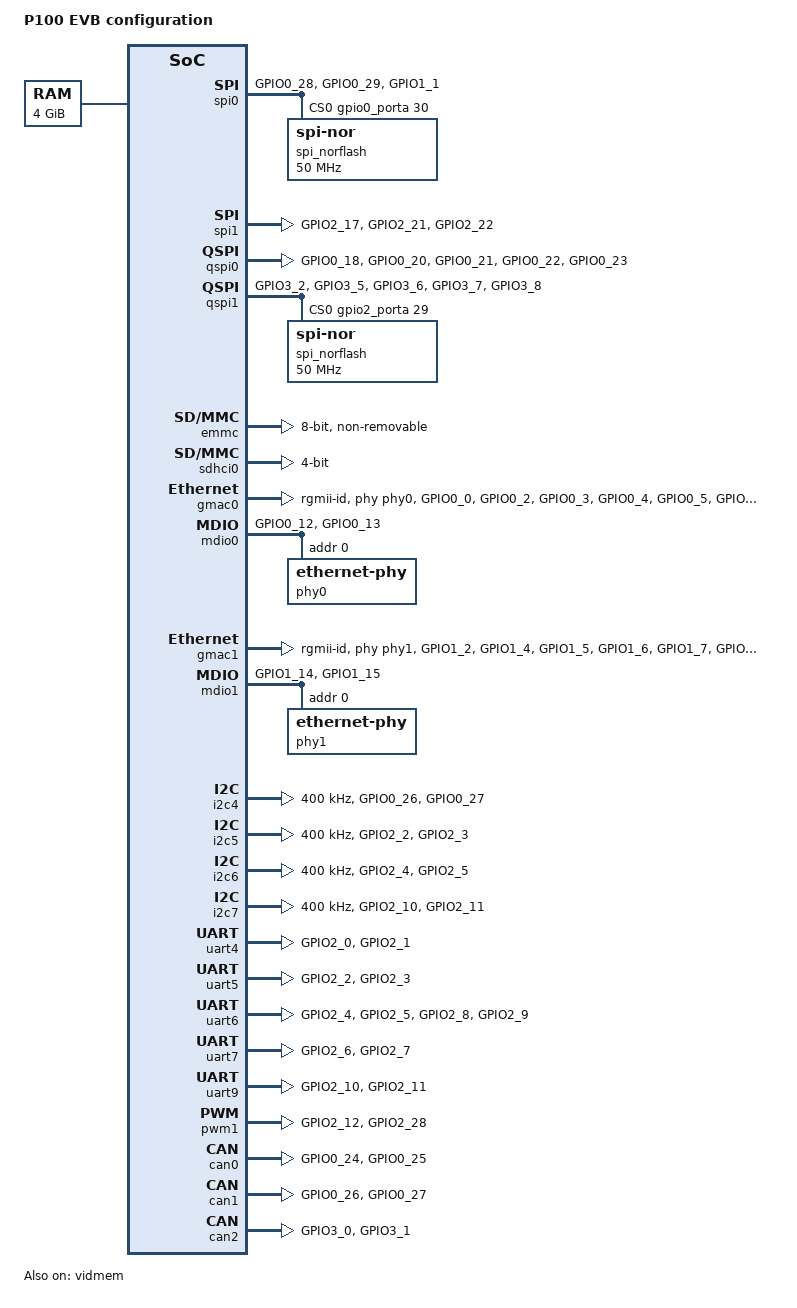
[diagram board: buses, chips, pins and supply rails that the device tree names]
/dts-v1/;

#include "p100-soc-core.dtsi"
#include "p100-soc-peri.dtsi"
#include "p100-platform-evb.dtsi"

#define SOUND_CARD_LINK(REG, FMT, CPU, M, CODEC, N) \
	simple-audio-card,dai-link@##REG { \
		reg = <REG>; \
		format = #FMT; \
		cpu { \
			sound-dai = <&audio_##CPU M>; \
		}; \
		codec { \
			sound-dai = <&codec_##CODEC N>; \
		}; \
	}

/ {
	model = "P100 EVB configuration";

	aliases {
		ethernet0 = &gmac0;
		ethernet1 = &gmac1;

		mmc0 = &emmc;
		mmc1 = &sdhci0;
		serial0 = &uart0;
		serial1 = &uart1;
		serial2 = &uart2;
		serial3 = &uart3;
		serial4 = &uart4;
		serial5 = &uart5;
		serial6 = &uart6;
		serial7 = &uart7;
		serial8 = &uart8;
		serial9 = &uart9;
		spi0 = &qspi0;
		spi1 = &qspi1;
		spi2 = &spi0;
		spi3 = &spi1;
		pcie3x4 = &dm3x4;
		pcie3x1 = &rp3x1;
	};

	/* The first 2M will be reserved in the Kernel, and the entire available range is set here */
	memory@0 {
		device_type = "memory";
		reg = <0x00 0x80000000  0x01 0x00000000>; /* 4G - 64MB */
		numa-node-id = <0>;
	};

	reserved-memory {
		#address-cells = <2>;
		#size-cells = <2>;
		ranges;

		linux,cma {
			compatible = "shared-dma-pool";
			reusable;
			size = <0x00 0x4000000>;
			alloc-ranges = <0x00 0x90000000 0x00 0x4000000>;
			linux,cma-default;
		};

		memory@1c000000 {
			reg = <0x00 0x1c000000 0x00 0x2000000>;
			no-map;
		};

		framebuffer: framebuffer@10000000 {
			reg = <0x01 0x00 0x00 0x20000000>;
			no-map;
		};

		zh_videomem@100000000 {
			reg = <0x01 0x00 0x00 0x20000000>;
			no-map;
		};

		npu_mmu_memory@130000000 {
			reg = <0x01 0x30000000 0x00 0x04000000>;
			no-map;
		};

		memblock-memory@17b800000 {
			reg = <0x01 0x7b800000 0x00 0x04000000>;
			no-map;
		};
	};

	/* The bootargs in U-Boot will override the configuration set here. */
	chosen {
		stdout-path = "serial4";
	};
};

&peri1_padctrl {
	gmac0_pins: gmac0-0 {
		tx-pins {
			pins = "GPIO0_0", /* GMAC0_TX_CLK */
			       "GPIO0_2", /* GMAC0_TXEN */
			       "GPIO0_3", /* GMAC0_TXD0 */
			       "GPIO0_4", /* GMAC0_TXD1 */
			       "GPIO0_5", /* GMAC0_TXD2 */
			       "GPIO0_6"; /* GMAC0_TXD3 */
			function = "gmac0";
			bias-disable;
			drive-strength = <25>;
			input-disable;
			input-schmitt-disable;
			slew-rate = <0>;
		};

		rx-pins {
			pins = "GPIO0_1",  /* GMAC0_RX_CLK */
			       "GPIO0_7",  /* GMAC0_RXDV */
			       "GPIO0_8",  /* GMAC0_RXD0 */
			       "GPIO0_9",  /* GMAC0_RXD1 */
			       "GPIO0_10", /* GMAC0_RXD2 */
			       "GPIO0_11"; /* GMAC0_RXD3 */
			function = "gmac0";
			bias-disable;
			drive-strength = <1>;
			input-enable;
			input-schmitt-disable;
			slew-rate = <0>;
		};
	};
	mdio0_pins: mdio0-0 {
		mdc-pins {
			pins = "GPIO0_12"; /* GMAC0_MDC */
			function = "gmac0";
			bias-disable;
			drive-strength = <13>;
			input-disable;
			input-schmitt-disable;
			slew-rate = <0>;
		};

		mdio-pins {
			pins = "GPIO0_13"; /* GMAC0_MDIO */
			function = "gmac0";
			bias-disable;
			drive-strength = <13>;
			input-enable;
			input-schmitt-enable;
			slew-rate = <0>;
		};
	};
	qspi0_pins: qspi0-0 {
		qspi-pins {
			pins = "GPIO0_18", "GPIO0_20", "GPIO0_21", "GPIO0_22", "GPIO0_23";
			function = "qspi0";
			bias-disable;
			drive-strength = <7>;
			input-enable;
			input-schmitt-enable;
			slew-rate = <0>;
		};
	};
	can0_pins: can0-0 {
		can-pins {
			pins = "GPIO0_24", "GPIO0_25";
			function = "can0";
			bias-disable;
			drive-strength = <7>;
			input-enable;
			input-schmitt-enable;
			slew-rate = <0>;
		};
	};
	can1_pins: can1-0 {
		can-pins {
			pins = "GPIO0_26", "GPIO0_27";
			function = "can1";
			bias-disable;
			drive-strength = <7>;
			input-enable;
			input-schmitt-enable;
			slew-rate = <0>;
		};
	};
	spi0_pins: spi0-0 {
		spi-pins {
			pins = "GPIO0_28", "GPIO0_29", "GPIO1_1";
			function = "spi0";
			bias-disable;
			drive-strength = <7>;
			input-enable;
			input-schmitt-enable;
			slew-rate = <0>;
		};
	};
	gmac1_pins: gmac1-0 {
		tx-pins {
			pins = "GPIO1_2", /* GMAC1_TX_CLK */
			       "GPIO1_4", /* GMAC1_TXEN */
			       "GPIO1_5", /* GMAC1_TXD0 */
			       "GPIO1_6", /* GMAC1_TXD1 */
			       "GPIO1_7", /* GMAC1_TXD2 */
			       "GPIO1_8"; /* GMAC1_TXD3 */
			function = "gmac1";
			bias-disable;
			drive-strength = <25>;
			input-disable;
			input-schmitt-disable;
			slew-rate = <0>;
		};

		rx-pins {
			pins = "GPIO1_3",  /* GMAC1_RX_CLK */
			       "GPIO1_9",  /* GMAC1_RXDV */
			       "GPIO1_10", /* GMAC1_RXD0 */
			       "GPIO1_11", /* GMAC1_RXD1 */
			       "GPIO1_12", /* GMAC1_RXD2 */
			       "GPIO1_13"; /* GMAC1_RXD3 */
			function = "gmac1";
			bias-disable;
			drive-strength = <1>;
			input-enable;
			input-schmitt-disable;
			slew-rate = <0>;
		};
	};
	mdio1_pins: mdio1-0 {
		mdc-pins {
			pins = "GPIO1_14"; /* GMAC1_MDC */
			function = "gmac1";
			bias-disable;
			drive-strength = <13>;
			input-disable;
			input-schmitt-disable;
			slew-rate = <0>;
		};

		mdio-pins {
			pins = "GPIO1_15"; /* GMAC1_MDIO */
			function = "gmac1";
			bias-disable;
			drive-strength = <13>;
			input-enable;
			input-schmitt-enable;
			slew-rate = <0>;
		};
	};
};

&peri2_padctrl {
	i2c4_pins: i2c4-2 {
		i2c-pins {
			pins = "GPIO0_26", "GPIO0_27";
			function = "i2c4";
			bias-disable;
			drive-strength = <7>;
			input-enable;
			input-schmitt-enable;
			slew-rate = <0>;
		};
	};
	uart4_pins: uart4-0 {
		uart-pins {
			pins = "GPIO2_0", "GPIO2_1";
			function = "uart4";
			bias-disable;
			drive-strength = <7>;
			input-enable;
			input-schmitt-enable;
			slew-rate = <0>;
		};
	};
	uart5_pins: uart5-0 {
		uart-pins {
			pins = "GPIO2_2", "GPIO2_3";
			function = "uart5";
			bias-disable;
			drive-strength = <7>;
			input-enable;
			input-schmitt-enable;
			slew-rate = <0>;
		};
	};
	i2c5_pins: i2c5-0 {
		i2c-pins {
			pins = "GPIO2_2", "GPIO2_3";
			function = "i2c5";
			bias-disable;
			drive-strength = <7>;
			input-enable;
			input-schmitt-enable;
			slew-rate = <0>;
		};
	};
	uart6_pins: uart6-0 {
		uart-pins {
			pins = "GPIO2_4", "GPIO2_5", "GPIO2_8", "GPIO2_9";	// TXD/RXD/CTSN/RTSN
			function = "uart6";
			bias-disable;
			drive-strength = <7>;
			input-enable;
			input-schmitt-enable;
			slew-rate = <0>;
		};
	};
	i2c6_pins: i2c6-0 {
		i2c-pins {
			pins = "GPIO2_4", "GPIO2_5";
			function = "i2c6";
			bias-disable;
			drive-strength = <7>;
			input-enable;
			input-schmitt-enable;
			slew-rate = <0>;
		};
	};
	uart7_pins: uart7-0 {
		uart-pins {
			pins = "GPIO2_6", "GPIO2_7";
			function = "uart7";
			bias-disable;
			drive-strength = <7>;
			input-enable;
			input-schmitt-enable;
			slew-rate = <0>;
		};
	};
	uart9_pins: uart9-0 {
		uart-pins {
			pins = "GPIO2_10", "GPIO2_11";
			function = "uart9";
			bias-disable;
			drive-strength = <7>;
			input-enable;
			input-schmitt-enable;
			slew-rate = <0>;
		};
	};
	i2c7_pins: i2c7-0 {
		i2c-pins {
			pins = "GPIO2_10", "GPIO2_11";
			function = "i2c7";
			bias-disable;
			drive-strength = <7>;
			input-enable;
			input-schmitt-enable;
			slew-rate = <0>;
		};
	};
	pwm1_pins: pwm1 {
		pwm-pins {
			pins = "GPIO2_12", "GPIO2_28"; // PWM1_CH2-0/PWM1_CH0-1
			function = "pwm1";
			bias-disable;
			drive-strength = <7>;
			input-enable;
			input-schmitt-enable;
			slew-rate = <0>;
		};
	};
	spi1_pins: spi1-1 {
		spi-pins {
			pins = "GPIO2_17", "GPIO2_21", "GPIO2_22";
			function = "spi1";
			bias-disable;
			drive-strength = <7>;
			input-enable;
			input-schmitt-enable;
			slew-rate = <0>;
		};
	};
	hdmi_pins: hdmi-0 {
		hdmi-pins {
			pins = "GPIO2_25", "GPIO2_30", "GPIO2_31";
			function = "hdmi";
			bias-disable;
			drive-strength = <3>;
			input-enable;
			input-schmitt-disable;
			slew-rate = <0>;
		};
	};
	can2_pins: can2-0 {
		can-pins {
			pins = "GPIO3_0", "GPIO3_1";
			function = "can2";
			bias-disable;
			drive-strength = <7>;
			input-enable;
			input-schmitt-enable;
			slew-rate = <0>;
		};
	};
	qspi1_pins: qspi1-1 {
		qspi-pins {
			pins = "GPIO3_2", "GPIO3_5", "GPIO3_6", "GPIO3_7", "GPIO3_8";
			function = "qspi1";
			bias-disable;
			drive-strength = <7>;
			input-enable;
			input-schmitt-enable;
			slew-rate = <0>;
		};
	};
	dptx_pins: dptx-1 {
		dptx-pins {
			pins = "GPIO3_9";
			function = "dptx";
			bias-disable;
			drive-strength = <7>;
			input-enable;
			input-schmitt-enable;
			slew-rate = <0>;
		};
	};
	usb31_pins: usb31-0 {
		usb31-pins {
			pins = "GPIO3_10";
			function = "usb31";
			bias-disable;
			drive-strength = <7>;
			input-enable;
			input-schmitt-enable;
			slew-rate = <0>;
		};
	};
};

&spi0 {
	cs-gpios = <&gpio0_porta 30 0>;
	rx-sample-delay-ns = <10>;
	pinctrl-names = "default";
	pinctrl-0 = <&spi0_pins>;

	spi_norflash@0 {
		status = "okay";
		#address-cells = <1>;
		#size-cells = <1>;
		compatible = "jedec,spi-nor";
		reg = <0>;
		spi-max-frequency = <50000000>;
		w25q,fast-read;
	};

	spidev@1 {
		status = "disabled";
		compatible = "spidev";
		#address-cells = <0x1>;
		#size-cells = <0x1>;
		reg = <0x1>;
		spi-max-frequency = <50000000>;
	};
};

&spi1 {
	cs-gpios = <&gpio2_porta 18 0>;
	rx-sample-delay-ns = <10>;
	pinctrl-names = "default";
	pinctrl-0 = <&spi1_pins>;

	spi_norflash@0 {
		status = "disabled";
		#address-cells = <1>;
		#size-cells = <1>;
		compatible = "jedec,spi-nor";
		reg = <0>;
		spi-max-frequency = <50000000>;
		w25q,fast-read;
	};
};

&qspi0 {
	cs-gpios = <&gpio0_porta 19 0>;
	rx-sample-dly = <4>;
	pinctrl-names = "default";
	pinctrl-0 = <&qspi0_pins>;

	spi_norflash@0 {
		status = "disabled";
		compatible = "jedec,spi-nor";
		reg = <0>;
		#address-cells = <1>;
		#size-cells = <1>;
		spi-tx-bus-width = <4>;
		spi-rx-bus-width = <4>;
		spi-max-frequency = <50000000>;
	};

	spi-nandflash@1 {
		status = "disabled";
		#address-cells = <1>;
		#size-cells = <1>;
		compatible = "spi-nand";
		spi-max-frequency = <100000000>;
		spi-tx-bus-width = <4>;
		spi-rx-bus-width = <4>;
		reg = <1>;

		partition@0 {
			label = "nand0";
			reg = <0x00000000 0x08000000>;
		};
	};
};

&qspi1 {
	cs-gpios = <&gpio2_porta 29 0>;
	rx-sample-dly = <4>;
	pinctrl-names = "default";
	pinctrl-0 = <&qspi1_pins>;

	spi_norflash@0 {
		status = "okay";
		compatible = "jedec,spi-nor";
		reg = <0>;
		#address-cells = <1>;
		#size-cells = <1>;
		spi-tx-bus-width = <4>;
		spi-rx-bus-width = <4>;
		spi-max-frequency = <50000000>;
	};

	spi-nandflash@1 {
		status = "disabled";
		#address-cells = <1>;
		#size-cells = <1>;
		compatible = "spi-nand";
		spi-max-frequency = <100000000>;
		spi-tx-bus-width = <4>;
		spi-rx-bus-width = <4>;
		reg = <1>;

		partition@0 {
			label = "nand1";
			reg = <0x00000000 0x08000000>;
		};
	};
};

&emmc {
	max-frequency = <196608000>;
	non-removable;
	mmc-hs200-1_8v;
	io_fixed_1v8;
	is_emmc;
	no-sdio;
	no-sd;
	pull_up;
	bus-width = <8>;
};

&sdhci0 {
	max-frequency = <196608000>;
	bus-width = <4>;
	pull_up;
	wprtn_ignore;
};

&gmac0 {
	phy-mode = "rgmii-id";
	pinctrl-names = "default";
	pinctrl-0 = <&gmac0_pins>;
	rx-clk-delay = <0x00>; /* for RGMII */
	tx-clk-delay = <0x00>; /* for RGMII */
	phy-handle = <&phy0>;
};

&mdio0 {
	pinctrl-names = "default";
	pinctrl-0 = <&mdio0_pins>;

	phy0: ethernet-phy@0 {
		reg = <0x0>;
	};
};

&gmac1 {
	phy-mode = "rgmii-id";
	pinctrl-names = "default";
	pinctrl-0 = <&gmac1_pins>;
	rx-clk-delay = <0x00>; /* for RGMII */
	tx-clk-delay = <0x00>; /* for RGMII */
	phy-handle = <&phy1>;
};

&mdio1 {
	pinctrl-names = "default";
	pinctrl-0 = <&mdio1_pins>;

	phy1: ethernet-phy@1 {
		reg = <0x0>;
	};
};

&i2c4 {
	pinctrl-names = "default";
	pinctrl-0 = <&i2c4_pins>;
	clock-frequency = <400000>;
};

&i2c5 {
	pinctrl-names = "default";
	pinctrl-0 = <&i2c5_pins>;
	clock-frequency = <400000>;
};

&i2c6 {
	pinctrl-names = "default";
	pinctrl-0 = <&i2c6_pins>;
	clock-frequency = <400000>;
};

&i2c7 {
	pinctrl-names = "default";
	pinctrl-0 = <&i2c7_pins>;
	clock-frequency = <400000>;
};

&uart4 {
	pinctrl-names = "default";
	pinctrl-0 = <&uart4_pins>;
};

&uart5 {
	pinctrl-names = "default";
	pinctrl-0 = <&uart5_pins>;
};

&uart6 {
	pinctrl-names = "default";
	pinctrl-0 = <&uart6_pins>;
};

&uart7 {
	pinctrl-names = "default";
	pinctrl-0 = <&uart7_pins>;
};

&uart9 {
	pinctrl-names = "default";
	pinctrl-0 = <&uart9_pins>;
};

&pwm1 {
	pinctrl-names = "default";
	pinctrl-0 = <&pwm1_pins>;
};

&can0 {
	pinctrl-names = "default";
	pinctrl-0 = <&can0_pins>;
};

&can1 {
	pinctrl-names = "default";
	pinctrl-0 = <&can1_pins>;
};

&can2 {
	pinctrl-names = "default";
	pinctrl-0 = <&can2_pins>;
};

&vp_dfmu_iommu {
    status = "disabled";
};

&vp_dfmu_mt {
    status = "disabled";
};

&npu_dfmu_iommu {
    status = "disabled";
};

&npu_dfmu_mt {
    status = "disabled";
};

&vi_dfmu_iommu {
    status = "disabled";
};

&vi_dfmu_mt {
    status = "disabled";
};

&vo_dfmu_iommu {
    status = "disabled";
};

&vo_dfmu_mt {
    status = "disabled";
};

&peri1_dfmu_iommu {
    status = "disabled";
};

&peri1_dfmu_mt {
    status = "disabled";
};

&pcie_dfmu_iommu {
    status = "disabled";
};

&pcie_dfmu_mt {
    status = "disabled";
};

&usb_dfmu_iommu {
    status = "disabled";
};

&usb_dfmu_mt {
    status = "disabled";
};

//////////////////////////////////////////////////////////////////////////////////////////////////////////////

/* FIXME: clk stages overlay to be selected for real SOC. */

/* bringup stage 3: full subsys + high freq */
/* refer to maximum clk freq in p100-soc-core.dtsi */

/* bringup stage 2: full subsys + medium freq*/
&clk_peri {
	peri1_spi_ssi_clk_frequency = <220000000>;
	peri2_spi_ssi_clk_frequency = <220000000>;
	peri1_qspi_ssi_clk_frequency = <220000000>;
	peri2_qspi_ssi_clk_frequency = <220000000>;
	uart_sclk_frequency = <24000000>;
	emmc_ref_clk_frequency = <203076924>;
	tee_clk_frequency = <200000000>;
};

&clk_pcie {
	pcie_ss_axi_m_aclk_frequency = <240000000>;
};

&clk_npu {
	npu_cclk_frequency = <600000000>;
	npu_aclk_frequency = <600000000>;
};

&emmc {
	max-frequency = <49152000>;
};

&sdhci0 {
	max-frequency = <49152000>;
};

/* bringup stage 1: minisys + low freq */
&clk {
	top_cfg_aclk_frequency = <165000000>;
	top_pclk_frequency = <82500000>;
	top_amux_clk_frequency = <240000000>;
	iommu_ptw_aclk_frequency = <165000000>;
	noc_cclk_frequency = <240000000>;
	top_cpusys_bus_clk_frequency = <220000000>;
	top_cpusys_pic_clk_frequency = <250000000>;
};

&clk_peri {
	peri1_spi_ssi_clk_frequency = <220000000>;
	peri2_spi_ssi_clk_frequency = <220000000>;
	peri1_qspi_ssi_clk_frequency = <220000000>;
	peri2_qspi_ssi_clk_frequency = <220000000>;
	uart_sclk_frequency = <24000000>;
	emmc_ref_clk_frequency = <203076924>;
	peri1_mst_aclk_frequency = <165000000>;
	peri3_mst_aclk_frequency = <220000000>;
	tee_clk_frequency = <200000000>;
};

&emmc {
	max-frequency = <49152000>;
};

&sdhci0 {
	max-frequency = <49152000>;
};

&clk_gpu {
	status = "disabled";
};

&clk_pcie {
	status = "disabled";
};

&clk_usb {
	status = "disabled";
};

&clk_vi {
	status = "disabled";
};

&clk_vp {
	status = "disabled";
};

&clk_vo {
	status = "disabled";
};

&clk_npu {
	status = "disabled";
};

&clk_d2d {
	status = "disabled";
};

&vidmem {
  status = "okay";
  memory-region = <&framebuffer>;
};
